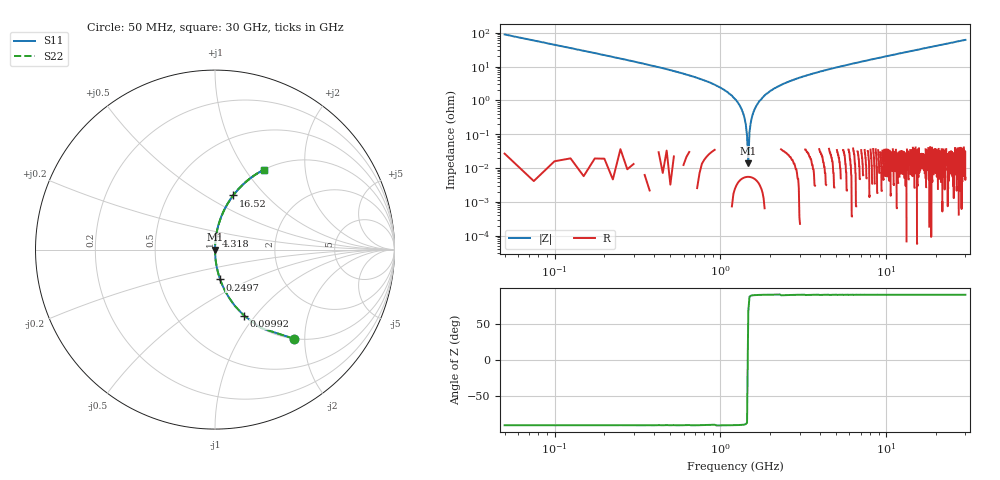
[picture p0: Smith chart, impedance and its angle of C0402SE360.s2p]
!	AVX Thin Film Operation 	Date: April 2014
!	Description: Accu-P® Series, Thin Film  SMD RF Capacitor
!	Part Number: 04023K360FBSTR
# MHZ S MA R 50
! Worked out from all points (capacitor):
!   1201 points, 50 MHz to 30 GHz, reference 50 ohm
!   read as one part in series: C = 36 pF near 199.8 MHz
!   lowest |Z| = 14 mohm at 1.473 GHz (marker M1)
!   series resonance near 1.47 GHz, so ESL is about 330 pH
!   S11 on the Smith chart (normalised r, x): 50 MHz: 1.00, -1.77; 99.92 MHz: 1.00, -0.88; 249.7 MHz: 1.00, -0.34; 4.318 GHz: 1.00, +0.16; 16.52 GHz: 1.00, +0.67; 30 GHz: 1.00, +1.22
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50  0.662 -48.5  0.749 41.4  0.749 41.4  0.662 -48.5
99.917  0.403 -66.2  0.915 23.8  0.915 23.8  0.403 -66.2
249.667  0.169 -80.2  0.985 9.8  0.985 9.8  0.169 -80.2
524.208  0.073 -85.7  0.997 4.2  0.997 4.2  0.073 -85.7
1123.208  0.016 -88.7  1 0.9  1 0.9  0.016 -88.7
1248  0.009873 -88.8  1 0.6  1 0.6  0.009873 -88.8
1347.833  0.005206 -88.5  1 0.3  1 0.3  0.005206 -88.5
1472.625  0.0001694 49.5  1 -0.0  1 -0.0  0.0001694 49.5
1572.458  0.00408 88.2  1 -0.2  1 -0.2  0.00408 88.2
1622.375  0.005966 88.6  1 -0.3  1 -0.3  0.005966 88.6
1672.292  0.007801 88.7  1 -0.4  1 -0.4  0.007801 88.7
1772.125  0.011 88.8  1 -0.6  1 -0.6  0.011 88.8
2146.5  0.023 88.4  1 -1.3  1 -1.3  0.023 88.4
2970.125  0.046 87.2  0.999 -2.6  0.999 -2.6  0.046 87.2
4317.875  0.078 85.5  0.997 -4.5  0.997 -4.5  0.078 85.5
5041.667  0.094 84.5  0.995 -5.4  0.995 -5.4  0.094 84.5
10058.29  0.198 78.6  0.98 -11.4  0.98 -11.4  0.198 78.6
15025  0.291 73.0  0.956 -16.9  0.956 -16.9  0.291 73.0
16522.5  0.318 71.4  0.948 -18.6  0.948 -18.6  0.318 71.4
20016.67  0.377 67.8  0.926 -22.2  0.926 -22.2  0.377 67.8
25033.29  0.455 62.9  0.89 -27.1  0.89 -27.1  0.455 62.9
30000  0.522 58.5  0.853 -31.5  0.853 -31.5  0.522 58.5
